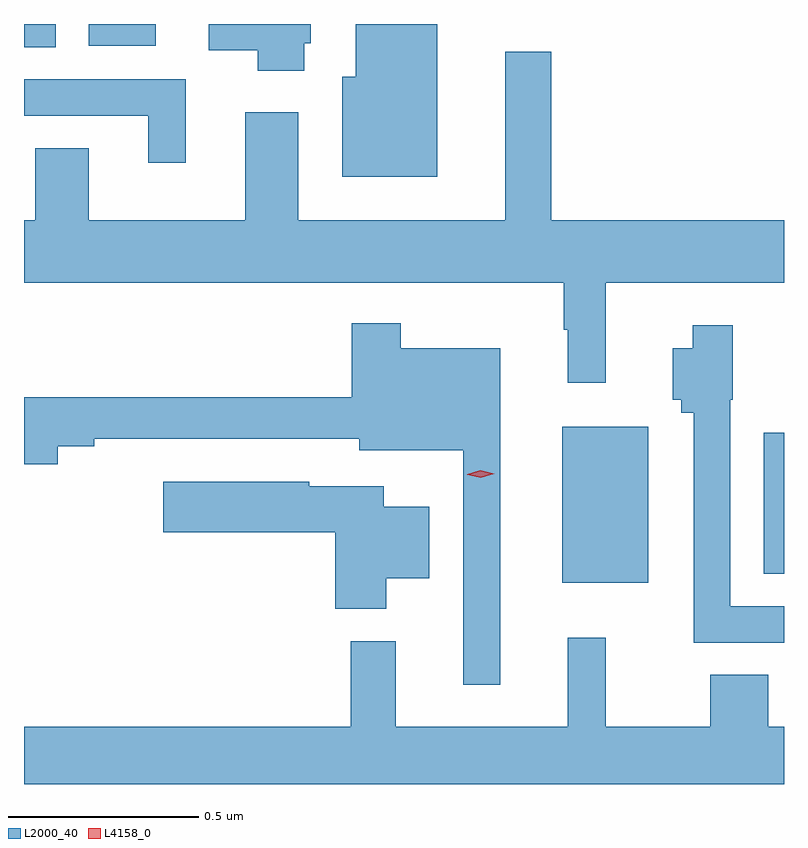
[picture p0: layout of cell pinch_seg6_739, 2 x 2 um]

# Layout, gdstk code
import gdstk
lib = gdstk.Library(unit=1e-6, precision=1e-09)
def R(c, l, rs):  # rectangles x0, y0, x1, y1
    for r in rs: c.add(gdstk.rectangle(r[:2], r[2:], *l))
def P(c, l, *ps):  # polygons
    for p in ps: c.add(gdstk.Polygon(p, *l))
L2000_40 = (2000, 40)
L4158_0 = (4158, 0)

pinch_seg6_739 = lib.new_cell('pinch_seg6_739')
R(pinch_seg6_739, L2000_40, [(579.305,953.207,579.532,953.617), (579.836,953.23,579.889,953.601), (577.889,954.616,577.972,954.677), (578.06,954.62,578.236,954.677)])
P(pinch_seg6_739, L2000_40, [(578.977,954.677),(578.762,954.677),(578.762,954.538),(578.726,954.538),(578.726,954.275),(578.977,954.275)],
  [(578.626,954.627),(578.644,954.627),(578.644,954.677),(578.375,954.677),(578.375,954.608),(578.504,954.608),(578.504,954.554),(578.626,954.554)],
  [(579.42,953.996),(579.889,953.996),(579.889,954.16),(579.277,954.16),(579.277,954.604),(579.155,954.604),(579.155,954.16),(578.611,954.16),(578.611,954.445),(578.471,954.445),(578.471,954.16),(578.059,954.16),(578.059,954.35),(577.919,954.35),(577.919,954.16),(577.889,954.16),(577.889,953.996),(579.309,953.996),(579.309,953.873),(579.32,953.873),(579.32,953.733),(579.42,953.733)],
  [(578.314,954.531),(577.889,954.531),(577.889,954.435),(578.216,954.435),(578.216,954.312),(578.314,954.312)],
  [(579.142,953.824),(578.881,953.824),(578.881,953.89),(578.752,953.89),(578.752,953.695),(577.889,953.695),(577.889,953.519),(577.978,953.519),(577.978,953.566),(578.074,953.566),(578.074,953.586),(578.771,953.586),(578.771,953.555),(579.045,953.555),(579.045,952.938),(579.142,952.938)],
  [(579.889,953.145),(579.747,953.145),(579.747,953.688),(579.754,953.688),(579.754,953.884),(579.649,953.884),(579.649,953.824),(579.596,953.824),(579.596,953.688),(579.618,953.688),(579.618,953.654),(579.651,953.654),(579.651,953.049),(579.889,953.049)],
  [(578.842,953.219),(578.956,953.219),(578.956,953.407),(578.836,953.407),(578.836,953.461),(578.64,953.461),(578.64,953.473),(578.256,953.473),(578.256,953.339),(578.708,953.339),(578.708,953.138),(578.842,953.138)],
  [(579.889,952.828),(579.848,952.828),(579.848,952.964),(579.695,952.964),(579.695,952.828),(579.42,952.828),(579.42,953.062),(579.32,953.062),(579.32,952.828),(578.867,952.828),(578.867,953.053),(578.749,953.053),(578.749,952.828),(577.889,952.828),(577.889,952.677),(579.889,952.677)])
P(pinch_seg6_739, L4158_0, [(579.091,953.483),(579.056,953.491),(579.055,953.491),(579.056,953.492),(579.09,953.503),(579.126,953.494),(579.126,953.494),(579.126,953.494)])

lib.write_gds('pinch_seg6_739.gds')
